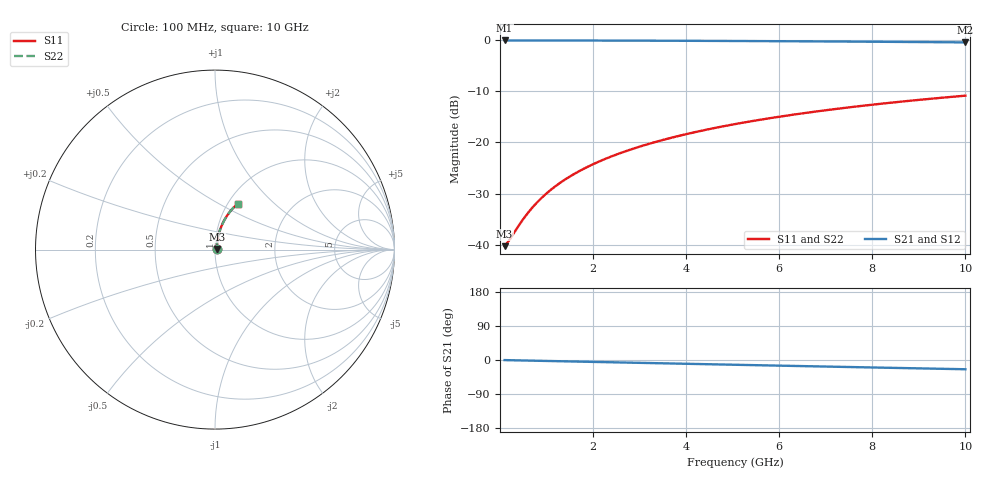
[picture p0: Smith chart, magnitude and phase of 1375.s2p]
# Hz S RI R 50.00
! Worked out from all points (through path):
!   100 points, 100 MHz to 10 GHz, reference 50 ohm
!   highest |S21| = -0.08 dB at 100 MHz (marker M1); lowest = -0.5 dB at 10 GHz (marker M2)
!   group delay of S21, straight-line fit = 6.79 ps
!   lowest |S11| = -40.3 dB at 100 MHz (marker M3), VSWR 1.02, Z = 50.9 + j0.304 ohm
!   |S11| at or under -10 dB: start of sweep to end of sweep
!   |S22| runs from -40.3 to -10.9 dB; largest |S21 - S12| = 0
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1e8  0.00919 0.00299  0.9908 -0.00433  0.9908 -0.00433  0.00919 0.00299
2e8  0.00929 0.00597  0.9907 -0.00866  0.9907 -0.00866  0.00929 0.00597
4e8  0.00953 0.0119  0.9905 -0.0173  0.9905 -0.0173  0.00953 0.0119
5e8  0.00968 0.0149  0.9903 -0.0216  0.9903 -0.0216  0.00968 0.0149
6e8  0.00985 0.0179  0.9901 -0.026  0.9901 -0.026  0.00985 0.0179
7e8  0.01 0.0209  0.9899 -0.0303  0.9899 -0.0303  0.01 0.0209
9e8  0.0105 0.0268  0.9894 -0.0389  0.9894 -0.0389  0.0105 0.0268
1.1e9  0.0111 0.0328  0.9888 -0.0476  0.9888 -0.0476  0.0111 0.0328
1.3e9  0.0117 0.0387  0.9881 -0.0562  0.9881 -0.0562  0.0117 0.0387
1.5e9  0.0125 0.0446  0.9873 -0.0648  0.9873 -0.0648  0.0125 0.0446
1.8e9  0.0138 0.0534  0.9859 -0.0777  0.9859 -0.0777  0.0138 0.0534
2.1e9  0.0153 0.0622  0.9842 -0.0905  0.9842 -0.0905  0.0153 0.0622
2.5e9  0.0178 0.0738  0.9816 -0.1075  0.9816 -0.1075  0.0178 0.0738
2.9e9  0.0206 0.0854  0.9786 -0.1244  0.9786 -0.1244  0.0206 0.0854
3.4e9  0.0246 0.0996  0.9743 -0.1454  0.9743 -0.1454  0.0246 0.0996
4.2e9  0.0324 0.1219  0.966 -0.1785  0.966 -0.1785  0.0324 0.1219
5.1e9  0.0428 0.1461  0.9547 -0.2149  0.9547 -0.2149  0.0428 0.1461
5.9e9  0.0536 0.1667  0.9432 -0.2464  0.9432 -0.2464  0.0536 0.1667
6.7e9  0.0656 0.1864  0.9302 -0.277  0.9302 -0.277  0.0656 0.1864
7.5e9  0.0788 0.2051  0.9159 -0.3066  0.9159 -0.3066  0.0788 0.2051
8.4e9  0.095 0.2249  0.8983 -0.3386  0.8983 -0.3386  0.095 0.2249
1e10  0.1268 0.2563  0.8638 -0.3919  0.8638 -0.3919  0.1268 0.2563
